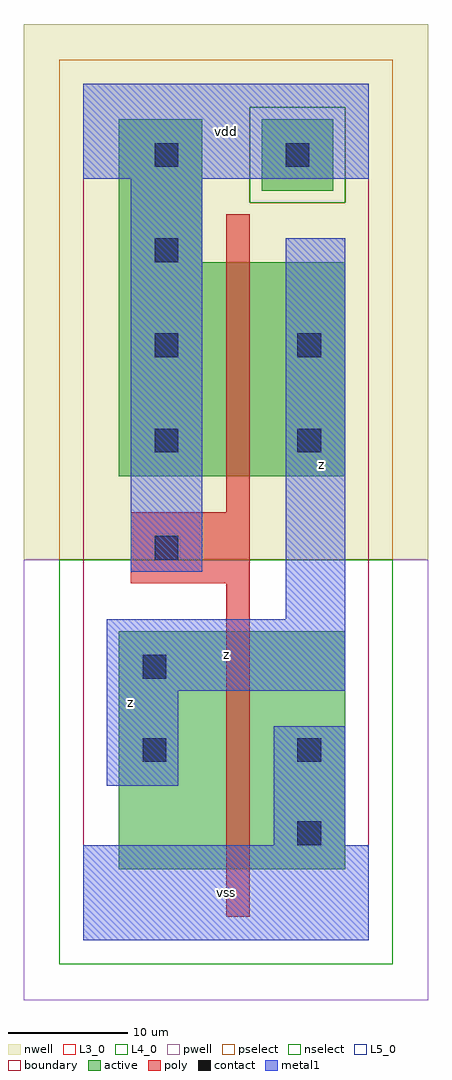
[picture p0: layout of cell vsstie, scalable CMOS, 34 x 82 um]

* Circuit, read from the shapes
.subckt vsstie vdd vss z
M1 vss vdd z VSUBS nfet w=20u l=2u
M2 z vdd vdd vdd pfet w=18u l=2u
.ends

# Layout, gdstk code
import gdstk
lib = gdstk.Library(unit=1e-6, precision=1e-09)
def R(c, l, rs):  # rectangles x0, y0, x1, y1
    for r in rs: c.add(gdstk.rectangle(r[:2], r[2:], *l))
def A(c, l, x, y, w, h, nx, ny, dx, dy):  # array of equal rectangles
    R(c, l, [(x+i*dx, y+j*dy, x+i*dx+w, y+j*dy+h) for i in range(nx) for j in range(ny)])
L3_0 = (3, 0)
L4_0 = (4, 0)
L5_0 = (5, 0)
contact = (25, 0)
pwell = (41, 0)
nwell = (42, 0)
active = (43, 0)
pselect = (44, 0)
nselect = (45, 0)
poly = (46, 0)
metal1 = (49, 0)
boundary = (63, 0)

vsstie = lib.new_cell('vsstie')
R(vsstie, L3_0, [(3,6,22,26)])
R(vsstie, L4_0, [(3,39,22,57), (3,57,10,69)])
R(vsstie, L5_0, [(15,63,21,69)])
A(vsstie, contact, 6, 41, 2, 2, 1, 4, 0, 8)
R(vsstie, contact, [(18,8,20,10), (5,15,7,17), (18,15,20,17), (5,22,7,24), (6,32,8,34), (18,41,20,43), (18,49,20,51), (17,65,19,67)])
R(vsstie, pwell, [(-5,-5,29,32)])
R(vsstie, nwell, [(-5,32,29,77)])
R(vsstie, active, [(3,6,22,26), (3,39,22,57), (3,57,10,69), (15,63,21,69)])
R(vsstie, pselect, [(-2,32,26,62), (-2,62,14,70), (22,62,26,70), (-2,70,26,74)])
R(vsstie, nselect, [(-2,-2,26,32), (14,62,22,70)])
R(vsstie, poly, [(12,2,14,30), (4,30,14,36), (12,36,14,61)])
R(vsstie, metal1, [(0,0,24,8), (16,8,22,18), (2,13,8,21), (2,21,22,27), (17,27,22,59), (4,31,10,64), (0,64,24,72)])
R(vsstie, boundary, [(0,0,24,72)])
vsstie.add(gdstk.Label('z', (4,20), layer=49, texttype=0))
vsstie.add(gdstk.Label('vss', (12,4), layer=49, texttype=0))
vsstie.add(gdstk.Label('z', (12,24), layer=49, texttype=0))
vsstie.add(gdstk.Label('vdd', (12,68), layer=49, texttype=0))
vsstie.add(gdstk.Label('z', (20,40), layer=49, texttype=0))

lib.write_gds('vsstie.gds')
